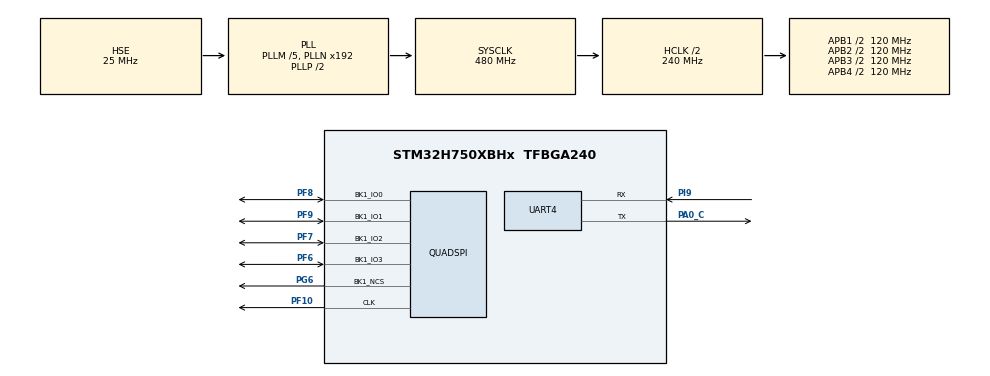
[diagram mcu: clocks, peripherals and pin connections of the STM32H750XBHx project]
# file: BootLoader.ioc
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CORTEX_M7.AccessPermission_S-Cortex_Memory_Protection_Unit_Region1_Settings_S=MPU_REGION_FULL_ACCESS
CORTEX_M7.AccessPermission_Spec=MPU_REGION_FULL_ACCESS
CORTEX_M7.BaseAddress_S-Cortex_Memory_Protection_Unit_Region1_Settings_S=0x24000000
CORTEX_M7.BaseAddress_Spec=0x90000000
CORTEX_M7.CPU_DCache=Enabled
CORTEX_M7.CPU_ICache=Enabled
CORTEX_M7.DisableExec_Spec=MPU_INSTRUCTION_ACCESS_ENABLE
CORTEX_M7.Enable_S-Cortex_Memory_Protection_Unit_Region1_Settings_S=MPU_REGION_ENABLE
CORTEX_M7.Enable_S-Cortex_Memory_Protection_Unit_Region4_Settings_S=__NULL
CORTEX_M7.IsBufferable_Spec=MPU_ACCESS_BUFFERABLE
CORTEX_M7.IsCacheable_S-Cortex_Memory_Protection_Unit_Region1_Settings_S=MPU_ACCESS_NOT_CACHEABLE
CORTEX_M7.IsCacheable_Spec=MPU_ACCESS_CACHEABLE
CORTEX_M7.IsShareable_Spec=MPU_ACCESS_NOT_SHAREABLE
CORTEX_M7.MPU_Control=MPU_HFNMI_PRIVDEF
CORTEX_M7.Size_S-Cortex_Memory_Protection_Unit_Region1_Settings_S=MPU_REGION_SIZE_512KB
CORTEX_M7.Size_Spec=MPU_REGION_SIZE_8MB
CORTEX_M7.SubRegionDisable_Spec=0x00
CORTEX_M7.TypeExtField_S-Cortex_Memory_Protection_Unit_Region1_Settings_S=MPU_TEX_LEVEL1
CORTEX_M7.TypeExtField_Spec=MPU_TEX_LEVEL1
CORTEX_M7.default_mode_Activation=1
Mcu.Family=STM32H7
Mcu.Name=STM32H750XBHx
Mcu.Package=TFBGA240
NVIC.PriorityGroup=NVIC_PRIORITYGROUP_4
PA0_C.Mode=Asynchronous
PA0_C.Signal=UART4_TX
PF10.GPIO_Speed=GPIO_SPEED_FREQ_VERY_HIGH
PF10.Mode=Single Bank 1
PF10.Signal=QUADSPI_CLK
PF6.GPIO_Speed=GPIO_SPEED_FREQ_VERY_HIGH
PF6.Mode=Single Bank 1
PF6.Signal=QUADSPI_BK1_IO3
PF7.GPIO_Speed=GPIO_SPEED_FREQ_VERY_HIGH
PF7.Mode=Single Bank 1
PF7.Signal=QUADSPI_BK1_IO2
PF8.GPIO_Speed=GPIO_SPEED_FREQ_VERY_HIGH
PF8.Mode=Single Bank 1
PF8.Signal=QUADSPI_BK1_IO0
PF9.GPIO_Speed=GPIO_SPEED_FREQ_VERY_HIGH
PF9.Mode=Single Bank 1
PF9.Signal=QUADSPI_BK1_IO1
PG6.GPIO_Speed=GPIO_SPEED_FREQ_VERY_HIGH
PG6.Mode=Single Bank 1
PG6.Signal=QUADSPI_BK1_NCS
PH0-OSC_IN\ (PH0).Mode=HSE-External-Oscillator
PH0-OSC_IN\ (PH0).Signal=RCC_OSC_IN
PH1-OSC_OUT\ (PH1).Mode=HSE-External-Oscillator
PH1-OSC_OUT\ (PH1).Signal=RCC_OSC_OUT
PI9.Mode=Asynchronous
PI9.Signal=UART4_RX
ProjectManager.HeapSize=0x200
ProjectManager.StackSize=0x400
ProjectManager.TargetToolchain=MDK-ARM V5.32
QUADSPI.ChipSelectHighTime=QSPI_CS_HIGH_TIME_6_CYCLE
QUADSPI.ClockMode=QSPI_CLOCK_MODE_0
QUADSPI.ClockPrescaler=1
QUADSPI.FifoThreshold=32
QUADSPI.FlashSize=24
QUADSPI.SampleShifting=QSPI_SAMPLE_SHIFTING_HALFCYCLE
RCC.ADCFreq_Value=50390625
RCC.APB1Freq_Value=120000000
RCC.APB2Freq_Value=120000000
RCC.APB3Freq_Value=120000000
RCC.APB4Freq_Value=120000000
RCC.CortexFreq_Value=480000000
RCC.D1PPRE=RCC_APB3_DIV2
RCC.D2PPRE1=RCC_APB1_DIV2
RCC.D2PPRE2=RCC_APB2_DIV2
RCC.D3PPRE=RCC_APB4_DIV2
RCC.DIVM1=5
RCC.DIVN1=192
RCC.HCLKFreq_Value=240000000
RCC.HPRE=RCC_HCLK_DIV2
RCC.PLLSourceVirtual=RCC_PLLSOURCE_HSE
RCC.PWR_Regulator_Voltage_Scale=PWR_REGULATOR_VOLTAGE_SCALE0
RCC.ProductRev=revV
RCC.SYSCLKFreq_VALUE=480000000
RCC.SYSCLKSource=RCC_SYSCLKSOURCE_PLLCLK
RCC.USBFreq_Value=480000000
board=custom

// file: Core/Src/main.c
/* USER CODE BEGIN Header */
/**
  ******************************************************************************
  * @file           : main.c
  * @brief          : Main program body
  ******************************************************************************
  * @attention
  *
  * Copyright (c) 2023 STMicroelectronics.
  * All rights reserved.
  *
  * This software is licensed under terms that can be found in the LICENSE file
  * in the root directory of this software component.
  * If no LICENSE file comes with this software, it is provided AS-IS.
  *
  ******************************************************************************
  */
/* USER CODE END Header */
#include "main.h"
#include "quadspi.h"
#include "usart.h"
#include "gpio.h"

/* USER CODE BEGIN Includes */
#include "w25qxx.h"
#include <stdio.h>
/* USER CODE END Includes */

void SystemClock_Config(void);
static void MPU_Config(void);

/* USER CODE BEGIN 0 */
typedef void (*pFunction)(void);
static void JumpToApp(void)
{
    uint8_t i = 0;
    uint32_t app_ddr = 0x90000000UL;
	pFunction JumpApp = (pFunction)(*(__IO uint32_t *)(app_ddr + 4 ));

    /* disable global interrupt */
    __disable_irq();

    /* close and reset Systick */
    SysTick->CTRL = 0;					// disable systick
    SysTick->LOAD = 0;					// clear loaded value
    SysTick->VAL = 0;					// clear current systick value

    /* clear all NVIC Enable and Pending registers */
    for(uint8_t i = 0; i < 8; i++)
    {
        NVIC->ICER[i] = 0xFFFFFFFF;
        NVIC->ICPR[i] = 0xFFFFFFFF;
    }

    /* priviage mode */
    __set_CONTROL(0);

    /* blocks all interrupts apart from the non-maskable interrupt (NMI) and the hard fault exception */
    __set_PRIMASK(1);

	__set_MSP(app_ddr);

    JumpApp();
}

/* USER CODE END 0 */

int main(void)
{

    /* MPU Configuration--------------------------------------------------------*/
    MPU_Config();

    /* Enable I-Cache---------------------------------------------------------*/
    SCB_EnableICache();

    /* Enable D-Cache---------------------------------------------------------*/
    SCB_EnableDCache();

    /* MCU Configuration--------------------------------------------------------*/

    /* Reset of all peripherals, Initializes the Flash interface and the Systick. */
    HAL_Init();

    /* Configure the system clock */
    SystemClock_Config();

    /* Initialize all configured peripherals */
    MX_GPIO_Init();
    MX_QUADSPI_Init();
    MX_UART4_Init();
    /* USER CODE BEGIN 2 */
	W25QXX_Init();
	W25Q_Memory_Mapped_Enable();

	printf("  __  ____  ___   _   ____   ___   ___ _____ \r\n");
	printf(" |  \\/  \\ \\/ / | | | | __ ) / _ \\ / _ \\_   _| \r\n");
	printf(" | |\\/| |\\  /| |_| | |  _ \\| | | | | | || | \r\n");
	printf(" | |  | |/  \\|  _  | | |_) | |_| | |_| || | \r\n");
	printf(" |_|  |_/_/\\_\\_| |_| |____/ \\___/ \\___/ |_| \r\n");
    printf(" BootLoader Powered by MXH.\r\n");

    JumpToApp();
    /* USER CODE END 2 */

    /* Infinite loop */
    while (1)
    {

    }
}

void SystemClock_Config(void)
{
    RCC_OscInitTypeDef RCC_OscInitStruct = {0};
    RCC_ClkInitTypeDef RCC_ClkInitStruct = {0};

    /** Supply configuration update enable
    */
    HAL_PWREx_ConfigSupply(PWR_LDO_SUPPLY);

    /** Configure the main internal regulator output voltage
    */
    __HAL_PWR_VOLTAGESCALING_CONFIG(PWR_REGULATOR_VOLTAGE_SCALE1);

    while(!__HAL_PWR_GET_FLAG(PWR_FLAG_VOSRDY)) {}

    __HAL_RCC_SYSCFG_CLK_ENABLE();
    __HAL_PWR_VOLTAGESCALING_CONFIG(PWR_REGULATOR_VOLTAGE_SCALE0);

    while(!__HAL_PWR_GET_FLAG(PWR_FLAG_VOSRDY)) {}

    /** Initializes the RCC Oscillators according to the specified parameters
    * in the RCC_OscInitTypeDef structure.
    */
    RCC_OscInitStruct.OscillatorType = RCC_OSCILLATORTYPE_HSE;
    RCC_OscInitStruct.HSEState = RCC_HSE_ON;
    RCC_OscInitStruct.PLL.PLLState = RCC_PLL_ON;
    RCC_OscInitStruct.PLL.PLLSource = RCC_PLLSOURCE_HSE;
    RCC_OscInitStruct.PLL.PLLM = 5;
    RCC_OscInitStruct.PLL.PLLN = 192;
    RCC_OscInitStruct.PLL.PLLP = 2;
    RCC_OscInitStruct.PLL.PLLQ = 2;
    RCC_OscInitStruct.PLL.PLLR = 2;
    RCC_OscInitStruct.PLL.PLLRGE = RCC_PLL1VCIRANGE_2;
    RCC_OscInitStruct.PLL.PLLVCOSEL = RCC_PLL1VCOWIDE;
    RCC_OscInitStruct.PLL.PLLFRACN = 0;
    if (HAL_RCC_OscConfig(&RCC_OscInitStruct) != HAL_OK)
    {
        Error_Handler();
    }

    /** Initializes the CPU, AHB and APB buses clocks
    */
    RCC_ClkInitStruct.ClockType = RCC_CLOCKTYPE_HCLK | RCC_CLOCKTYPE_SYSCLK
                                  | RCC_CLOCKTYPE_PCLK1 | RCC_CLOCKTYPE_PCLK2
                                  | RCC_CLOCKTYPE_D3PCLK1 | RCC_CLOCKTYPE_D1PCLK1;
    RCC_ClkInitStruct.SYSCLKSource = RCC_SYSCLKSOURCE_PLLCLK;
    RCC_ClkInitStruct.SYSCLKDivider = RCC_SYSCLK_DIV1;
    RCC_ClkInitStruct.AHBCLKDivider = RCC_HCLK_DIV2;
    RCC_ClkInitStruct.APB3CLKDivider = RCC_APB3_DIV2;
    RCC_ClkInitStruct.APB1CLKDivider = RCC_APB1_DIV2;
    RCC_ClkInitStruct.APB2CLKDivider = RCC_APB2_DIV2;
    RCC_ClkInitStruct.APB4CLKDivider = RCC_APB4_DIV2;

    if (HAL_RCC_ClockConfig(&RCC_ClkInitStruct, FLASH_LATENCY_4) != HAL_OK)
    {
        Error_Handler();
    }
}

/* USER CODE BEGIN 4 */
/* ------------------通过重定向将printf函数映射到串口1上-------------------*/
#if !defined(__MICROLIB)

//#pragma import(__use_no_semihosting)
__asm (".global __use_no_semihosting\n\t");
void _sys_exit(int x) //避免使用半主机模式
{
    x = x;
}
//__use_no_semihosting was requested, but _ttywrch was
void _ttywrch(int ch)
{
    ch = ch;
}
//struct __FILE
//{
//  int handle;
//};
FILE __stdout;

#endif

#if defined ( __GNUC__ ) && !defined (__clang__)
#define PUTCHAR_PROTOTYPE int __io_putchar(int ch)
#else
#define PUTCHAR_PROTOTYPE int fputc(int ch, FILE *f)
#endif
PUTCHAR_PROTOTYPE
{
    /* 实现串口发送一个字节数据的函数 */
    HAL_UART_Transmit(&huart4, (uint8_t *)&ch, 1, 1000);
    return ch;
}

/* USER CODE END 4 */

/* MPU Configuration */

void MPU_Config(void)
{
    MPU_Region_InitTypeDef MPU_InitStruct = {0};

    /* Disables the MPU */
    HAL_MPU_Disable();

    /** Initializes and configures the Region and the memory to be protected
    */
    MPU_InitStruct.Enable = MPU_REGION_ENABLE;
    MPU_InitStruct.Number = MPU_REGION_NUMBER0;
    MPU_InitStruct.BaseAddress = 0x90000000;
    MPU_InitStruct.Size = MPU_REGION_SIZE_8MB;
    MPU_InitStruct.SubRegionDisable = 0x00;
    MPU_InitStruct.TypeExtField = MPU_TEX_LEVEL1;
    MPU_InitStruct.AccessPermission = MPU_REGION_FULL_ACCESS;
    MPU_InitStruct.DisableExec = MPU_INSTRUCTION_ACCESS_ENABLE;
    MPU_InitStruct.IsShareable = MPU_ACCESS_NOT_SHAREABLE;
    MPU_InitStruct.IsCacheable = MPU_ACCESS_CACHEABLE;
    MPU_InitStruct.IsBufferable = MPU_ACCESS_BUFFERABLE;

    HAL_MPU_ConfigRegion(&MPU_InitStruct);

    /** Initializes and configures the Region and the memory to be protected
    */
    MPU_InitStruct.Number = MPU_REGION_NUMBER1;
    MPU_InitStruct.BaseAddress = 0x24000000;
    MPU_InitStruct.Size = MPU_REGION_SIZE_512KB;
    MPU_InitStruct.SubRegionDisable = 0x0;
    MPU_InitStruct.IsCacheable = MPU_ACCESS_NOT_CACHEABLE;
    MPU_InitStruct.IsBufferable = MPU_ACCESS_NOT_BUFFERABLE;

    HAL_MPU_ConfigRegion(&MPU_InitStruct);
    /* Enables the MPU */
    HAL_MPU_Enable(MPU_HFNMI_PRIVDEF);

}

void Error_Handler(void)
{
    __disable_irq();
    while (1)
    {
    }
}
